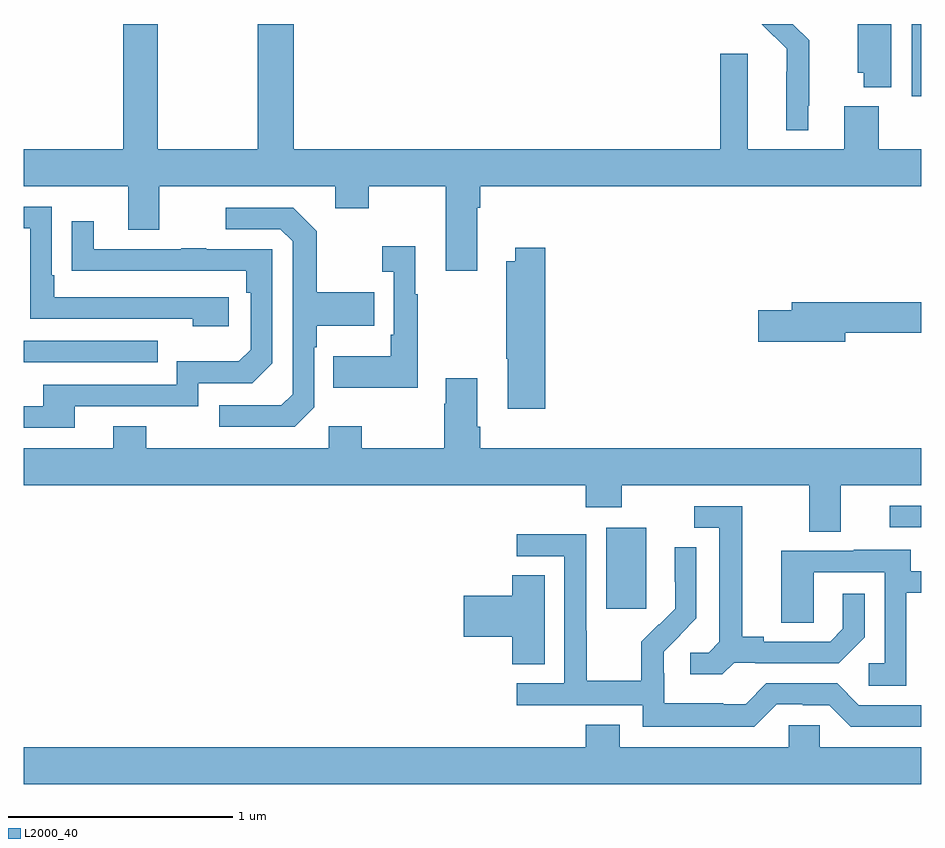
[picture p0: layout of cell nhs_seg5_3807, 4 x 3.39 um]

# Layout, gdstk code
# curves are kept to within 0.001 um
import gdstk
lib = gdstk.Library(unit=1e-6, precision=1e-09)
def R(c, l, rs):  # rectangles x0, y0, x1, y1
    for r in rs: c.add(gdstk.rectangle(r[:2], r[2:], *l))
def P(c, l, *ps):  # polygons
    for p in ps: c.add(gdstk.Polygon(p, *l))
L2000_40 = (2000, 40)

nhs_seg5_3807 = lib.new_cell('nhs_seg5_3807')
R(nhs_seg5_3807, L2000_40, [(337.595,872.193,337.774,872.554), (338.859,872.556,339,872.652), (335,873.291,335.597,873.387), (338.957,874.476,339,874.799)])
P(nhs_seg5_3807, L2000_40, [(338.497,874.435),(338.501,874.435),(338.501,874.726),(338.428,874.799),(338.289,874.799),(338.4,874.688),(338.4,874.586),(338.399,874.586),(338.399,874.325),(338.497,874.325)],
  [(337.021,873.98),(337.034,873.98),(337.034,874.076),(339,874.076),(339,874.24),(338.81,874.24),(338.81,874.432),(338.657,874.432),(338.657,874.24),(338.227,874.24),(338.227,874.666),(338.105,874.666),(338.105,874.24),(336.203,874.24),(336.203,874.799),(336.043,874.799),(336.043,874.24),(335.598,874.24),(335.598,874.799),(335.443,874.799),(335.443,874.24),(335,874.24),(335,874.076),(335.465,874.076),(335.465,873.882),(335.605,873.882),(335.605,874.076),(336.389,874.076),(336.389,873.977),(336.537,873.977),(336.537,874.076),(336.881,874.076),(336.881,873.699),(337.021,873.699)],
  [(338.866,874.799),(338.717,874.799),(338.717,874.581),(338.744,874.581),(338.744,874.517),(338.866,874.517)],
  [(335.914,873.582),(335.137,873.582),(335.137,873.679),(335.124,873.679),(335.124,873.984),(335,873.984),(335,873.888),(335.028,873.888),(335.028,873.486),(335.753,873.486),(335.753,873.452),(335.914,873.452)],
  [(336.294,873.09),(336.294,873.359),(336.307,873.359),(336.307,873.455),(336.563,873.455),(336.563,873.603),(336.307,873.603),(336.307,873.875),(336.201,873.981),(335.901,873.981),(335.901,873.885),(336.144,873.885),(336.198,873.831),(336.198,873.15),(336.147,873.099),(335.871,873.099),(335.871,873.003),(336.207,873.003)],
  [(335.227,873.096),(335.778,873.096),(335.778,873.198),(336.018,873.198),(336.108,873.288),(336.108,873.795),(335.813,873.795),(335.813,873.8),(335.701,873.8),(335.701,873.795),(335.311,873.795),(335.311,873.919),(335.215,873.919),(335.215,873.7),(335.992,873.699),(335.992,873.602),(336.012,873.602),(336.012,873.348),(335.959,873.295),(335.682,873.295),(335.682,873.192),(335.087,873.192),(335.087,873.096),(335,873.096),(335,873),(335.227,873)],
  [(336.757,873.595),(336.745,873.595),(336.745,873.808),(336.597,873.808),(336.597,873.695),(336.648,873.695),(336.648,873.415),(336.636,873.415),(336.636,873.319),(336.379,873.319),(336.379,873.179),(336.757,873.179)],
  [(337.325,873.802),(337.19,873.802),(337.19,873.742),(337.15,873.742),(337.15,873.307),(337.157,873.307),(337.157,873.084),(337.325,873.084)],
  [(338.662,873.424),(339,873.424),(339,873.56),(338.423,873.56),(338.423,873.524),(338.274,873.524),(338.274,873.382),(338.662,873.382)],
  [(338.641,872.744),(339,872.744),(339,872.908),(337.034,872.908),(337.034,873.004),(337.021,873.004),(337.021,873.22),(336.881,873.22),(336.881,873.107),(336.874,873.107),(336.874,872.908),(336.507,872.908),(336.507,873.007),(336.36,873.007),(336.36,872.908),(335.547,872.908),(335.547,873.007),(335.399,873.007),(335.399,872.908),(335,872.908),(335,872.744),(337.505,872.744),(337.505,872.645),(337.665,872.645),(337.665,872.744),(338.501,872.744),(338.501,872.536),(338.641,872.536)],
  [(338.166,871.953),(338.26,871.953),(338.26,871.95),(338.632,871.95),(338.748,872.066),(338.748,872.26),(338.651,872.26),(338.651,872.103),(338.594,872.046),(338.299,872.046),(338.299,872.069),(338.203,872.069),(338.203,872.649),(337.989,872.649),(337.989,872.553),(338.099,872.553),(338.099,872.045),(338.052,871.998),(337.971,871.998),(337.971,871.901),(338.114,871.901)],
  [(338.355,871.767),(338.471,871.767),(338.471,871.764),(338.589,871.764),(338.685,871.668),(339,871.668),(339,871.764),(338.721,871.764),(338.625,871.86),(338.31,871.86),(338.217,871.767),(338.117,871.767),(338.117,871.771),(337.854,871.771),(337.854,871.905),(337.852,871.905),(337.852,872.002),(337.998,872.15),(337.998,872.468),(337.902,872.468),(337.902,872.314),(337.904,872.314),(337.904,872.192),(337.833,872.121),(337.83,872.124),(337.753,872.047),(337.753,871.873),(337.509,871.873),(337.509,872.096),(337.506,872.096),(337.506,872.526),(337.197,872.526),(337.197,872.427),(337.41,872.427),(337.41,871.86),(337.197,871.86),(337.197,871.764),(337.758,871.764),(337.758,871.667),(338.255,871.667)],
  [(338.934,872.265),(339,872.265),(339,872.361),(338.953,872.361),(338.953,872.455),(338.699,872.455),(338.699,872.451),(338.375,872.451),(338.375,872.131),(338.52,872.131),(338.52,872.355),(338.838,872.355),(338.838,871.95),(338.766,871.95),(338.766,871.849),(338.934,871.849)],
  [(337.321,872.342),(337.178,872.342),(337.178,872.252),(336.96,872.252),(336.96,872.069),(337.178,872.069),(337.178,871.945),(337.321,871.945)],
  [(338.409,871.674),(338.409,871.576),(337.657,871.576),(337.657,871.675),(337.505,871.675),(337.505,871.576),(335,871.576),(335,871.412),(339,871.412),(339,871.576),(338.547,871.576),(338.547,871.674)])

lib.write_gds('nhs_seg5_3807.gds')
